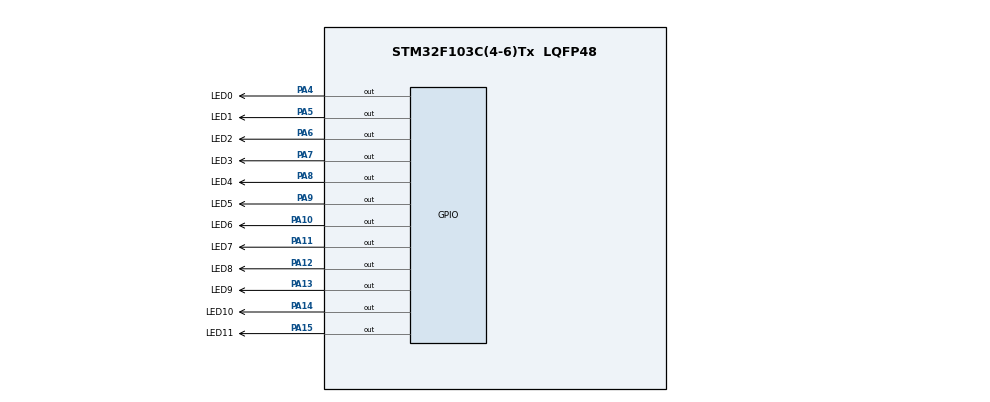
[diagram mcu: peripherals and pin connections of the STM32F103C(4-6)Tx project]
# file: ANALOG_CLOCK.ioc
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Mcu.Family=STM32F1
Mcu.Name=STM32F103C(4-6)Tx
Mcu.Package=LQFP48
NVIC.PriorityGroup=NVIC_PRIORITYGROUP_4
PA10.GPIO_Label=LED6
PA10.Signal=GPIO_Output
PA11.GPIO_Label=LED7
PA11.Signal=GPIO_Output
PA12.GPIO_Label=LED8
PA12.Signal=GPIO_Output
PA13.GPIO_Label=LED9
PA13.Signal=GPIO_Output
PA14.GPIO_Label=LED10
PA14.Signal=GPIO_Output
PA15.GPIO_Label=LED11
PA15.Signal=GPIO_Output
PA4.GPIO_Label=LED0
PA4.Signal=GPIO_Output
PA5.GPIO_Label=LED1
PA5.Signal=GPIO_Output
PA6.GPIO_Label=LED2
PA6.Signal=GPIO_Output
PA7.GPIO_Label=LED3
PA7.Signal=GPIO_Output
PA8.GPIO_Label=LED4
PA8.Signal=GPIO_Output
PA9.GPIO_Label=LED5
PA9.Signal=GPIO_Output
ProjectManager.HeapSize=0x200
ProjectManager.StackSize=0x400
ProjectManager.TargetToolchain=STM32CubeIDE
RCC.APB1Freq_Value=8000000
RCC.APB2Freq_Value=8000000
board=custom

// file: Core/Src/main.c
/* USER CODE BEGIN Header */
/**
  ******************************************************************************
  * @file           : main.c
  * @brief          : Main program body
  ******************************************************************************
  * @attention
  *
  * Copyright (c) 2022 STMicroelectronics.
  * All rights reserved.
  *
  * This software is licensed under terms that can be found in the LICENSE file
  * in the root directory of this software component.
  * If no LICENSE file comes with this software, it is provided AS-IS.
  *
  ******************************************************************************
  */
/* USER CODE END Header */
#include "main.h"

void SystemClock_Config(void);
static void MX_GPIO_Init(void);

int main(void)
{

  /* MCU Configuration--------------------------------------------------------*/

  /* Reset of all peripherals, Initializes the Flash interface and the Systick. */
  HAL_Init();

  /* Configure the system clock */
  SystemClock_Config();

  /* Initialize all configured peripherals */
  MX_GPIO_Init();

  /* Infinite loop */
  /* USER CODE BEGIN WHILE */
  void blinkAllClock() {
	  HAL_GPIO_TogglePin(LED0_GPIO_Port, LED0_Pin);
	  HAL_GPIO_TogglePin(LED1_GPIO_Port, LED1_Pin);
	  HAL_GPIO_TogglePin(LED2_GPIO_Port, LED2_Pin);
	  HAL_GPIO_TogglePin(LED3_GPIO_Port, LED3_Pin);
	  HAL_GPIO_TogglePin(LED4_GPIO_Port, LED4_Pin);
	  HAL_GPIO_TogglePin(LED5_GPIO_Port, LED5_Pin);
	  HAL_GPIO_TogglePin(LED6_GPIO_Port, LED6_Pin);
	  HAL_GPIO_TogglePin(LED7_GPIO_Port, LED7_Pin);
	  HAL_GPIO_TogglePin(LED8_GPIO_Port, LED8_Pin);
	  HAL_GPIO_TogglePin(LED9_GPIO_Port, LED9_Pin);
	  HAL_GPIO_TogglePin(LED10_GPIO_Port, LED10_Pin);
	  HAL_GPIO_TogglePin(LED11_GPIO_Port, LED11_Pin);
	  HAL_Delay(1000);
  }
  void clearAllClock() {
	  HAL_GPIO_WritePin(LED0_GPIO_Port, LED0_Pin, GPIO_PIN_SET);
	  HAL_GPIO_WritePin(LED1_GPIO_Port, LED1_Pin, GPIO_PIN_SET);
	  HAL_GPIO_WritePin(LED2_GPIO_Port, LED2_Pin, GPIO_PIN_SET);
	  HAL_GPIO_WritePin(LED3_GPIO_Port, LED3_Pin, GPIO_PIN_SET);
	  HAL_GPIO_WritePin(LED4_GPIO_Port, LED4_Pin, GPIO_PIN_SET);
	  HAL_GPIO_WritePin(LED5_GPIO_Port, LED5_Pin, GPIO_PIN_SET);
	  HAL_GPIO_WritePin(LED6_GPIO_Port, LED6_Pin, GPIO_PIN_SET);
	  HAL_GPIO_WritePin(LED7_GPIO_Port, LED7_Pin, GPIO_PIN_SET);
	  HAL_GPIO_WritePin(LED8_GPIO_Port, LED8_Pin, GPIO_PIN_SET);
	  HAL_GPIO_WritePin(LED9_GPIO_Port, LED9_Pin, GPIO_PIN_SET);
	  HAL_GPIO_WritePin(LED10_GPIO_Port, LED10_Pin, GPIO_PIN_SET);
	  HAL_GPIO_WritePin(LED11_GPIO_Port, LED11_Pin, GPIO_PIN_SET);
  }
  void setNumberOnClock(int num) {
	  switch(num) {
	  case 0:
		  HAL_GPIO_WritePin(LED0_GPIO_Port, LED0_Pin, GPIO_PIN_RESET);
		  break;
	  case 1:
	  	  HAL_GPIO_WritePin(LED1_GPIO_Port, LED1_Pin, GPIO_PIN_RESET);
	  	  break;
	  case 2:
		  HAL_GPIO_WritePin(LED2_GPIO_Port, LED2_Pin, GPIO_PIN_RESET);
		  break;
	  case 3:
	  	  HAL_GPIO_WritePin(LED3_GPIO_Port, LED3_Pin, GPIO_PIN_RESET);
	  	  break;
	  case 4:
		  HAL_GPIO_WritePin(LED4_GPIO_Port, LED4_Pin, GPIO_PIN_RESET);
		  break;
	  case 5:
	  	  HAL_GPIO_WritePin(LED5_GPIO_Port, LED5_Pin, GPIO_PIN_RESET);
	  	  break;
	  case 6:
		  HAL_GPIO_WritePin(LED6_GPIO_Port, LED6_Pin, GPIO_PIN_RESET);
		  break;
	  case 7:
	  	  HAL_GPIO_WritePin(LED7_GPIO_Port, LED7_Pin, GPIO_PIN_RESET);
	  	  break;
	  case 8:
		  HAL_GPIO_WritePin(LED8_GPIO_Port, LED8_Pin, GPIO_PIN_RESET);
		  break;
	  case 9:
	  	  HAL_GPIO_WritePin(LED9_GPIO_Port, LED9_Pin, GPIO_PIN_RESET);
	  	  break;
	  case 10:
		  HAL_GPIO_WritePin(LED10_GPIO_Port, LED10_Pin, GPIO_PIN_RESET);
		  break;
	  case 11:
	  	  HAL_GPIO_WritePin(LED11_GPIO_Port, LED11_Pin, GPIO_PIN_RESET);
	  	  break;
	  default:
		  break;
	  }
  }
  void clearNumberOnClock(int num) {
	  switch (num) {
	  case 0:
		  HAL_GPIO_WritePin(LED0_GPIO_Port, LED0_Pin, GPIO_PIN_SET);
		  break;
	  case 1:
	  	  HAL_GPIO_WritePin(LED1_GPIO_Port, LED1_Pin, GPIO_PIN_SET);
	  	  break;
	  case 2:
		  HAL_GPIO_WritePin(LED2_GPIO_Port, LED2_Pin, GPIO_PIN_SET);
		  break;
	  case 3:
	  	  HAL_GPIO_WritePin(LED3_GPIO_Port, LED3_Pin, GPIO_PIN_SET);
	  	  break;
	  case 4:
		  HAL_GPIO_WritePin(LED4_GPIO_Port, LED4_Pin, GPIO_PIN_SET);
		  break;
	  case 5:
	  	  HAL_GPIO_WritePin(LED5_GPIO_Port, LED5_Pin, GPIO_PIN_SET);
	  	  break;
	  case 6:
		  HAL_GPIO_WritePin(LED6_GPIO_Port, LED6_Pin, GPIO_PIN_SET);
		  break;
	  case 7:
	  	  HAL_GPIO_WritePin(LED7_GPIO_Port, LED7_Pin, GPIO_PIN_SET);
	  	  break;
	  case 8:
		  HAL_GPIO_WritePin(LED8_GPIO_Port, LED8_Pin, GPIO_PIN_SET);
		  break;
	  case 9:
	  	  HAL_GPIO_WritePin(LED9_GPIO_Port, LED9_Pin, GPIO_PIN_SET);
	  	  break;
	  case 10:
		  HAL_GPIO_WritePin(LED10_GPIO_Port, LED10_Pin, GPIO_PIN_SET);
		  break;
	  case 11:
	  	  HAL_GPIO_WritePin(LED11_GPIO_Port, LED11_Pin, GPIO_PIN_SET);
	  	  break;
	  default:
		  break;
	  }
  }
  while (1)
  {
	  clearAllClock();
	  for (int h = 0; h < 12; h ++) {
		  for (int m = 0; m < 60; m ++) {
			  for (int s = 0; s < 60; s ++) {
				  setNumberOnClock(h);
				  setNumberOnClock(m/5);
				  setNumberOnClock(s/5);
				  HAL_Delay(1000);
				  clearAllClock();
			  }
		  }
	  }
    /* USER CODE END WHILE */

  }
}

void SystemClock_Config(void)
{
  RCC_OscInitTypeDef RCC_OscInitStruct = {0};
  RCC_ClkInitTypeDef RCC_ClkInitStruct = {0};

  /** Initializes the RCC Oscillators according to the specified parameters
  * in the RCC_OscInitTypeDef structure.
  */
  RCC_OscInitStruct.OscillatorType = RCC_OSCILLATORTYPE_HSI;
  RCC_OscInitStruct.HSIState = RCC_HSI_ON;
  RCC_OscInitStruct.HSICalibrationValue = RCC_HSICALIBRATION_DEFAULT;
  RCC_OscInitStruct.PLL.PLLState = RCC_PLL_NONE;
  if (HAL_RCC_OscConfig(&RCC_OscInitStruct) != HAL_OK)
  {
    Error_Handler();
  }

  /** Initializes the CPU, AHB and APB buses clocks
  */
  RCC_ClkInitStruct.ClockType = RCC_CLOCKTYPE_HCLK|RCC_CLOCKTYPE_SYSCLK
                              |RCC_CLOCKTYPE_PCLK1|RCC_CLOCKTYPE_PCLK2;
  RCC_ClkInitStruct.SYSCLKSource = RCC_SYSCLKSOURCE_HSI;
  RCC_ClkInitStruct.AHBCLKDivider = RCC_SYSCLK_DIV1;
  RCC_ClkInitStruct.APB1CLKDivider = RCC_HCLK_DIV1;
  RCC_ClkInitStruct.APB2CLKDivider = RCC_HCLK_DIV1;

  if (HAL_RCC_ClockConfig(&RCC_ClkInitStruct, FLASH_LATENCY_0) != HAL_OK)
  {
    Error_Handler();
  }
}

static void MX_GPIO_Init(void)
{
  GPIO_InitTypeDef GPIO_InitStruct = {0};

  /* GPIO Ports Clock Enable */
  __HAL_RCC_GPIOA_CLK_ENABLE();

  /*Configure GPIO pin Output Level */
  HAL_GPIO_WritePin(GPIOA, LED0_Pin|LED1_Pin|LED2_Pin|LED3_Pin
                          |LED4_Pin|LED5_Pin|LED6_Pin|LED7_Pin
                          |LED8_Pin|LED9_Pin|LED10_Pin|LED11_Pin, GPIO_PIN_RESET);

  /*Configure GPIO pins : LED0_Pin LED1_Pin LED2_Pin LED3_Pin
                           LED4_Pin LED5_Pin LED6_Pin LED7_Pin
                           LED8_Pin LED9_Pin LED10_Pin LED11_Pin */
  GPIO_InitStruct.Pin = LED0_Pin|LED1_Pin|LED2_Pin|LED3_Pin
                          |LED4_Pin|LED5_Pin|LED6_Pin|LED7_Pin
                          |LED8_Pin|LED9_Pin|LED10_Pin|LED11_Pin;
  GPIO_InitStruct.Mode = GPIO_MODE_OUTPUT_PP;
  GPIO_InitStruct.Pull = GPIO_NOPULL;
  GPIO_InitStruct.Speed = GPIO_SPEED_FREQ_LOW;
  HAL_GPIO_Init(GPIOA, &GPIO_InitStruct);

}

void Error_Handler(void)
{
  __disable_irq();
  while (1)
  {
  }
}
